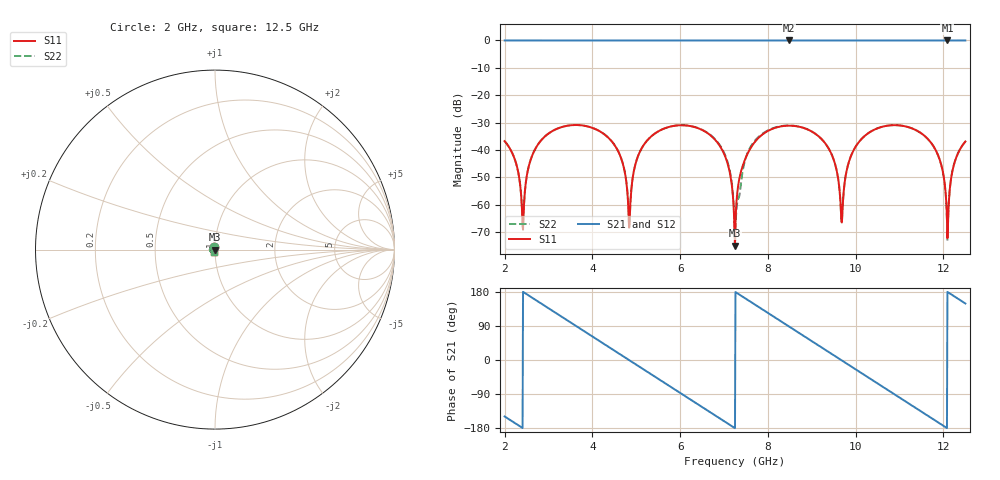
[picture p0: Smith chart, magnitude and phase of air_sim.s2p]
! TOUCHSTONE file generated by CST MICROWAVE STUDIO
! Date and time: Tue Apr 18 18:38:17 2023
! Project name: Untitled_0.cst
! Header version: 2018
! Port assignment regex: !\s*Touchstone port\s*([0-9]+)\s*=\s*(CST MWS port|CST DS port)\s*([0-9]+|Zmin|Zmax)\s*\(\"(.*)\"\)(\s*mode\s*([0-9]+))?.*
! Touchstone port assignment:
! Touchstone port 1 = CST MWS port 1 ("")
! Touchstone port 2 = CST MWS port 2 ("")
# GHz S MA R 50
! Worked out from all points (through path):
!   1001 points, 2 GHz to 12.5 GHz, reference 50 ohm
!   highest |S21| = 0.00 dB at 12.09 GHz (marker M1); lowest = 0.0 dB at 8.489 GHz (marker M2)
!   group delay of S21, straight-line fit = 207 ps
!   lowest |S11| = -75.0 dB at 7.25 GHz (marker M3), VSWR 1.00, Z = 50 - j0.00719 ohm
!   |S11| at or under -10 dB: start of sweep to end of sweep
!   |S22| runs from -75.1 to -30.9 dB; largest |S21 - S12| = 0.0026
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2  0.0145 119.9  0.9999 -148.9  0.9999 -148.9  0.0145 122.2
2.42  0.0003496 -24.8  1 179.8  0.9998 179.8  0.0003862 -159.6
2.7875  0.01351 -116.7  0.9998 152.4  0.9999 152.4  0.01353 -119.4
3.7535  0.02816 170.5  0.9996 80.5  0.9996 80.5  0.02817 170.6
4.5305  0.01142 113.2  0.9999 22.6  0.9998 22.6  0.01149 116.2
4.835  0.0003809 32.4  1 -0.1  1 -0.1  0.0004302 150.1
5.0555  0.008305 -104.8  1 -16.5  1 -16.5  0.008304 -109.9
5.507  0.02199 -140.3  0.9998 -50.1  0.9998 -50.1  0.02197 -141.9
6.7985  0.01529 127.6  0.9999 -146.3  0.9996 -146.3  0.01564 129.6
7.0925  0.005251 107.4  1 -168.2  0.9998 -168.2  0.005595 116.3
7.25  0.0001782 -23.8  1 -179.9  1 -179.9  0.0001749 -155.9
7.6175  0.01121 -121.8  0.9994 152.7  0.9999 152.7  0.01184 -129.6
8.489  0.02779 175.2  0.9984 87.8  0.9996 87.9  0.02798 175.6
9.0035  0.02161 137.6  0.9988 49.5  0.9998 49.6  0.02166 139.3
9.455  0.008195 102.6  0.9996 15.9  1 15.9  0.008203 108.6
9.686  0.0004744 -24.3  0.9999 -1.3  1 -1.3  0.0004748 -158.2
9.9905  0.01119 -112.0  0.9999 -24.0  0.9998 -24.0  0.01121 -116.1
10.757  0.02799 -170.7  0.9993 -81.1  0.9996 -81.1  0.028 -171.3
11.7335  0.01301 115.9  0.9995 -153.8  0.9999 -153.8  0.01298 117.5
12.0905  0.000245 24.7  1 179.6  0.9998 179.6  0.0002195 158.6
12.248  0.005715 -100.2  1 167.9  0.9996 167.8  0.005736 -104.3
12.5  0.01428 -120.2  0.9999 149.1  0.9998 149.1  0.01429 -121.6
